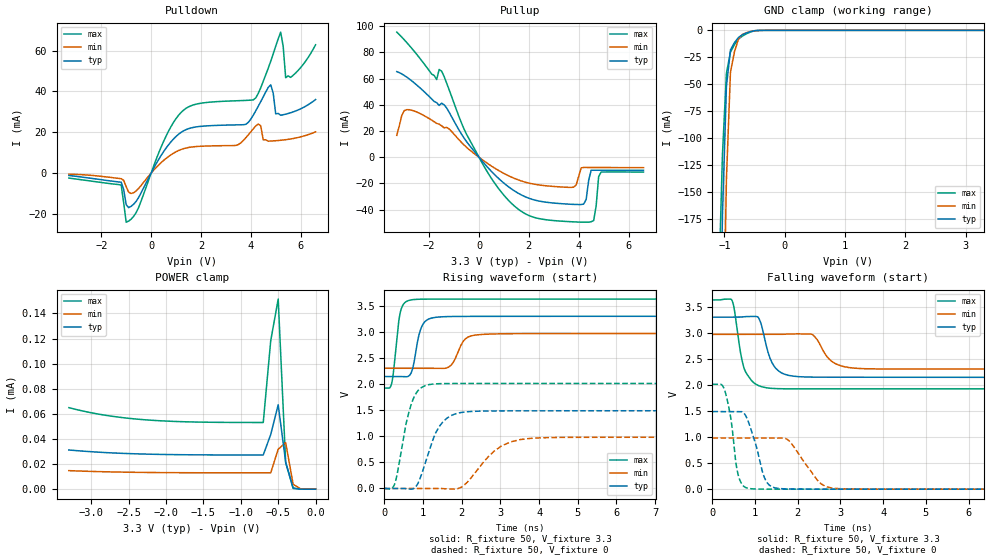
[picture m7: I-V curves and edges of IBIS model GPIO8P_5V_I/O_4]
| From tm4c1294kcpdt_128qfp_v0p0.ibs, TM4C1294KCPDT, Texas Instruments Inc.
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|   Model Cell GPIO8P_5V_I/O_4
[Model]   GPIO8P_5V_I/O_4
Model_type   I/O
Polarity   Non-Inverting
Enable   Active-Low
Vinl =  0.8
Vinh =  2
Cref =  15.0000pF
Rref =  100.0000M
Vref =  0V
Vmeas =  1.65
C_comp   7.738177p   6.063161p   9.392973p
[Model Spec]
Vinl   0.8   0.8   0.8
Vinh   2   2   2
[Temperature Range]   25   125   -40
[Voltage Range]   3.3   2.97   3.63
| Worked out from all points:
|   slope of the pulldown table from 0 to 0.495 V, typ, clamps not added: 47.6 ohm
|   slope of the pullup table from 0 to 0.495 V, typ, clamps not added: 46.2 ohm
|   GND clamp passes 1 mA (typ) near -0.55 V on its own axis
|   rising waveform, R_fixture 50, V_fixture 3.3: 20-80 % time 194ps typ, 262ps min, 148ps max; typ from 2.15 V to 3.3 V
|   rising waveform, R_fixture 50, V_fixture 0: 20-80 % time 450ps typ, 738ps min, 330ps max; typ from 0 V to 1.49 V
|   falling waveform, R_fixture 50, V_fixture 3.3: 20-80 % time 259ps typ, 342ps min, 226ps max; typ from 3.3 V to 2.15 V
|   falling waveform, R_fixture 50, V_fixture 0: 20-80 % time 299ps typ, 504ps min, 196ps max; typ from 1.49 V to 0 V
| Nom Voltages:
|   VDDC=1.2, VDD=3.3, GND=0
| Min Voltages:
|   VDDC=1.08, VDD=2.97, GND=0
| Max Voltages:
|   VDDC=1.32, VDD=3.63, GND=0
[POWER_clamp]
|   voltage   I(typ)   I(min)   I(max)
-3.3V     31.22uA    14.77uA    64.95uA
-2.8V     29.13uA    13.84uA    58.77uA
-2.3V     27.98uA    13.34uA    55.36uA
-1.7V     27.4uA     13.1uA     53.62uA
-700mV    27.24uA    13.03uA    53.12uA
-600mV    43.52uA    13.03uA    118.2uA
-500mV    67.2uA     31.8uA     151.5uA
-400mV    21.58uA    37.04uA    21.1uA
-300mV    927.4nA    3.873uA    611.4nA
-200mV    28.93nA    266.5nA    11.51nA
0V        696.9pA    10.99nA    568.3pA
[Pulldown]
|   voltage   I(typ)   I(min)   I(max)
-3.3V     -1.162mA   -505.3uA   -2.413mA
-1.2V     -4.448mA   -2.72mA    -5.833mA
-1V       -15.42mA   -6.655mA   -24.03mA
-900mV    -16.9mA    -9.327mA   -23.48mA
1.2V      19.95mA    11.56mA    29.71mA
3.4V      23.64mA    13.58mA    35.45mA
4.1V      28.41mA    21.71mA    35.87mA
4.8V      43.29mA    15.72mA    54.81mA
5V        29.04mA    15.88mA    62.21mA
5.2V      28.35mA    16.1mA     69.11mA
5.4V      28.9mA     16.38mA    46.73mA
6.6V      36.05mA    20.22mA    62.9mA
[Pullup]
|   voltage   I(typ)   I(min)   I(max)
-3.3V     65.33mA    16.73mA    95.47mA
-3V       62.41mA    35.55mA    89.6mA
-2.6V     56.73mA    35.27mA    80.83mA
-1.7V     41.66mA    25.86mA    59.29mA
-1.5V     41.23mA    23.97mA    65.63mA
200mV     -4.548mA   -2.809mA   -6.86mA
1.8V      -29.65mA   -18.67mA   -42.48mA
3.8V      -35.93mA   -22.75mA   -49.25mA
4.2V      -35.7mA    -7.761mA   -49.48mA
4.5V      -9.896mA   -7.777mA   -49.16mA
4.9V      -9.898mA   -7.805mA   -11.24mA
6.6V      -9.969mA   -7.928mA   -11.25mA
[GND_clamp]
|   voltage   I(typ)   I(min)   I(max)
-3.3V     -16.36A    -15.34A    -17.18A
-1.1V     -382.1mA   -633.4mA   -250.1mA
-1.033V   -173.3mA   -336.5mA   -116.4mA
-966.7mV  -52.02mA   -138.4mA   -39.81mA
-900mV    -18.21mA   -38.98mA   -20.34mA
-833.3mV  -11.36mA   -19.82mA   -13.17mA
-766.7mV  -6.618mA   -8.051mA   -8.134mA
-700mV    -3.983mA   -3.675mA   -5.247mA
-500mV    -328.3uA   -388.2uA   -374.5uA
-366.7mV  -15.94uA   -32.84uA   -14.83uA
3.3V      697pA      8.348uA    426.1pA
[Ramp]
| variable   typ   min   max
dV/dt_f 0.70109912/0.26037919n 0.40520664/0.34382932n  1.0338228/0.22628195n
dV/dt_r 0.90140807/0.45275695n 0.59660584/0.74446515n  1.2150245/0.33158972n
R_load = 50
[Rising Waveform]
R_fixture = 50
V_fixture = 3.3
V_fixture_min = 2.97
V_fixture_max = 3.63
|   time   V(typ)   V(min)   V(max)
0s        2.146V     2.304V     1.925V
199.6ps   2.146V     2.304V     2.057V
430.8ps   2.146V     2.304V     3.435V
774.7ps   2.456V     2.304V     3.622V
1.006ns   3.159V     2.304V     3.628V
1.421ns   3.288V     2.303V     3.629V
1.717ns   3.296V     2.359V     3.63V
2.103ns   3.298V     2.874V     3.63V
2.648ns   3.299V     2.957V     3.63V
20.14ns   3.3V       2.97V      3.63V
[Rising Waveform]
R_fixture = 50
V_fixture = 0
V_fixture_min = 0
V_fixture_max = 0
|   time   V(typ)   V(min)   V(max)
0s        0V         0V         0V
263ps     0V         0V         82.67mV
590.1ps   -7.473mV   0V         1.339V
810.6ps   32.49mV    0V         1.814V
1.231ns   887.5mV    0V         2V
1.429ns   1.201V     0V         2.009V
1.817ns   1.426V     -9.785mV   2.012V
3.021ns   1.487V     812.8mV    2.012V
3.759ns   1.489V     959.5mV    2.013V
20.01ns   1.489V     982.4mV    2.012V
[Falling Waveform]
R_fixture = 50
V_fixture = 3.3
V_fixture_min = 2.97
V_fixture_max = 3.63
|   time   V(typ)   V(min)   V(max)
0s        3.3V       2.97V      3.63V
457.4ps   3.3V       2.97V      3.628V
743.2ps   3.31V      2.97V      2.318V
1.058ns   3.308V     2.97V      1.996V
1.348ns   2.519V     2.97V      1.937V
1.677ns   2.209V     2.973V     1.926V
2.336ns   2.15V      2.97V      1.925V
2.818ns   2.148V     2.439V     1.925V
3.572ns   2.147V     2.311V     1.925V
20.14ns   2.146V     2.304V     1.925V
[Falling Waveform]
R_fixture = 50
V_fixture = 0
V_fixture_min = 0
V_fixture_max = 0
|   time   V(typ)   V(min)   V(max)
0s        1.489V     981.9mV    2.013V
279.6ps   1.489V     981.9mV    1.917V
432.1ps   1.489V     981.9mV    1.361V
601.1ps   1.489V     981.9mV    282.9mV
897ps     1.165V     981.9mV    9.076mV
1.253ns   162.1mV    981.9mV    0V
1.612ns   9.739mV    983.7mV    0V
2.499ns   0V         137.2mV    0V
2.895ns   0V         13.61mV    0V
20.01ns   0V         0V         0V
